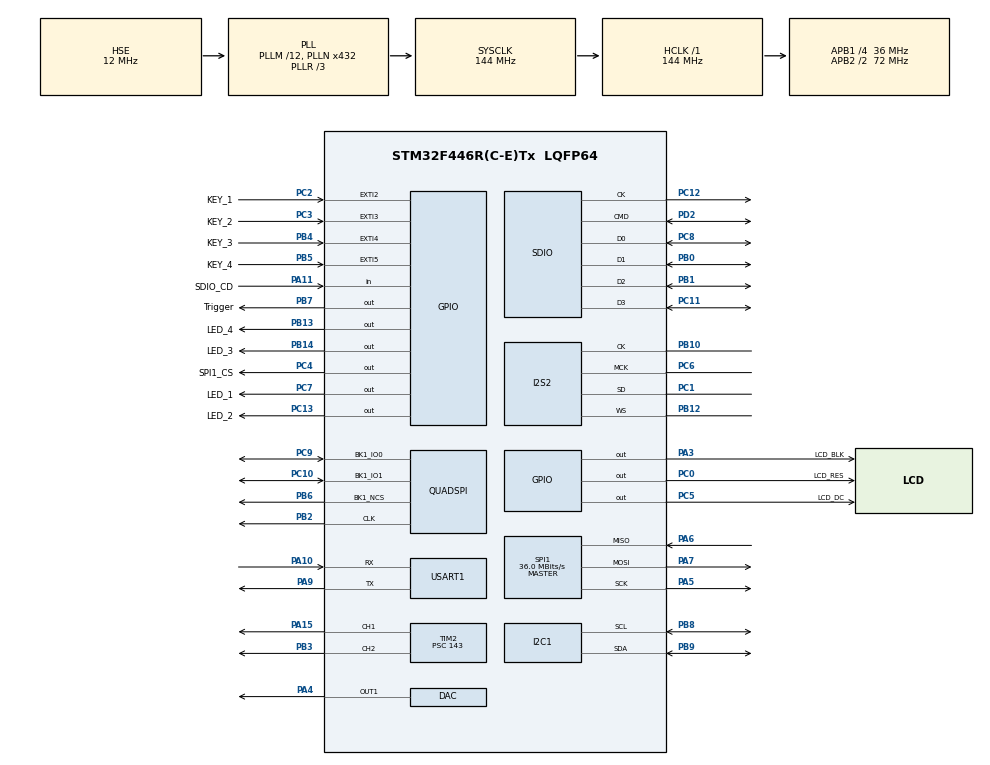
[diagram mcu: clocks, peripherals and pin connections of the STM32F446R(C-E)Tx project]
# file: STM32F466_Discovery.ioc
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Dma.Request0=SPI1_TX
Dma.Request1=SDIO
Dma.Request2=SPI2_TX
Dma.SDIO.1.Direction=DMA_PERIPH_TO_MEMORY
Dma.SDIO.1.FIFOMode=DMA_FIFOMODE_ENABLE
Dma.SDIO.1.FIFOThreshold=DMA_FIFO_THRESHOLD_FULL
Dma.SDIO.1.Instance=DMA2_Stream6
Dma.SDIO.1.MemBurst=DMA_MBURST_INC4
Dma.SDIO.1.MemDataAlignment=DMA_MDATAALIGN_WORD
Dma.SDIO.1.MemInc=DMA_MINC_ENABLE
Dma.SDIO.1.Mode=DMA_PFCTRL
Dma.SDIO.1.PeriphBurst=DMA_PBURST_INC4
Dma.SDIO.1.PeriphDataAlignment=DMA_PDATAALIGN_WORD
Dma.SDIO.1.PeriphInc=DMA_PINC_DISABLE
Dma.SDIO.1.Priority=DMA_PRIORITY_LOW
Dma.SPI1_TX.0.Direction=DMA_MEMORY_TO_PERIPH
Dma.SPI1_TX.0.FIFOMode=DMA_FIFOMODE_DISABLE
Dma.SPI1_TX.0.Instance=DMA2_Stream3
Dma.SPI1_TX.0.MemDataAlignment=DMA_MDATAALIGN_HALFWORD
Dma.SPI1_TX.0.MemInc=DMA_MINC_ENABLE
Dma.SPI1_TX.0.Mode=DMA_NORMAL
Dma.SPI1_TX.0.PeriphDataAlignment=DMA_PDATAALIGN_HALFWORD
Dma.SPI1_TX.0.PeriphInc=DMA_PINC_DISABLE
Dma.SPI1_TX.0.Priority=DMA_PRIORITY_LOW
Dma.SPI2_TX.2.Direction=DMA_MEMORY_TO_PERIPH
Dma.SPI2_TX.2.FIFOMode=DMA_FIFOMODE_DISABLE
Dma.SPI2_TX.2.Instance=DMA1_Stream4
Dma.SPI2_TX.2.MemDataAlignment=DMA_MDATAALIGN_HALFWORD
Dma.SPI2_TX.2.MemInc=DMA_MINC_ENABLE
Dma.SPI2_TX.2.Mode=DMA_CIRCULAR
Dma.SPI2_TX.2.PeriphDataAlignment=DMA_PDATAALIGN_HALFWORD
Dma.SPI2_TX.2.PeriphInc=DMA_PINC_DISABLE
Dma.SPI2_TX.2.Priority=DMA_PRIORITY_HIGH
FATFS.BSP.number=1
FATFS._CODE_PAGE=936
FATFS._USE_LFN=2
FATFS0.BSP.STBoard=false
FATFS0.BSP.api=Unknown
FATFS0.BSP.i2caddr=0
FATFS0.BSP.instance=PA11
FATFS0.BSP.ip=GPIO
FATFS0.BSP.mode=Input
FATFS0.BSP.name=Detect_SDIO
FATFS0.BSP.solution=PA11
I2S2.AudioFreq=I2S_AUDIOFREQ_44K
I2S2.ClockSource-Half_Duplex_Master=I2S_CLOCK_PLLSRC
I2S2.ErrorAudioFreq=-5.3 %
I2S2.FullDuplexMode=I2S_FULLDUPLEXMODE_DISABLE
I2S2.Instance=SPI$Index
I2S2.RealAudioFreq=41.666 KHz
I2S2.VirtualMode=I2S_MODE_MASTER
Mcu.Family=STM32F4
Mcu.Name=STM32F446R(C-E)Tx
Mcu.Package=LQFP64
NVIC.DMA1_Stream4_IRQn=true\:0\:0\:false\:false\:true\:false\:true
NVIC.DMA2_Stream3_IRQn=true\:0\:0\:false\:false\:true\:false\:true
NVIC.DMA2_Stream6_IRQn=true\:0\:0\:false\:false\:true\:false\:true
NVIC.EXTI2_IRQn=true\:5\:0\:true\:false\:true\:true\:true
NVIC.EXTI3_IRQn=true\:5\:0\:true\:false\:true\:true\:true
NVIC.EXTI4_IRQn=true\:5\:0\:true\:false\:true\:true\:true
NVIC.EXTI9_5_IRQn=true\:5\:0\:true\:false\:true\:true\:true
NVIC.PriorityGroup=NVIC_PRIORITYGROUP_3
NVIC.SDIO_IRQn=true\:0\:0\:false\:false\:true\:true\:true
NVIC.TIM2_IRQn=true\:0\:0\:false\:false\:true\:true\:true
NVIC.TIM5_IRQn=true\:1\:0\:true\:false\:true\:true\:true
NVIC.TIM6_DAC_IRQn=true\:6\:0\:true\:false\:true\:true\:true
NVIC.TIM7_IRQn=true\:7\:0\:true\:false\:true\:true\:true
PA10.Mode=Asynchronous
PA10.Signal=USART1_RX
PA11.GPIO_Label=SDIO_CD
PA11.Signal=GPIO_Input
PA13.Mode=Serial_Wire
PA13.Signal=SYS_JTMS-SWDIO
PA14.Mode=Serial_Wire
PA14.Signal=SYS_JTCK-SWCLK
PA15.Signal=S_TIM2_CH1_ETR
PA3.GPIO_Label=LCD_BLK
PA3.Signal=GPIO_Output
PA4.Signal=COMP_DAC1_group
PA5.Mode=Full_Duplex_Master
PA5.Signal=SPI1_SCK
PA6.Mode=Full_Duplex_Master
PA6.Signal=SPI1_MISO
PA7.Mode=Full_Duplex_Master
PA7.Signal=SPI1_MOSI
PA9.Mode=Asynchronous
PA9.Signal=USART1_TX
PB0.Mode=SD_4_bits_Wide_bus
PB0.Signal=SDIO_D1
PB1.Mode=SD_4_bits_Wide_bus
PB1.Signal=SDIO_D2
PB10.Mode=Half_Duplex_Master
PB10.Signal=I2S2_CK
PB12.Mode=Half_Duplex_Master
PB12.Signal=I2S2_WS
PB13.GPIO_Label=LED_4
PB13.PinState=GPIO_PIN_SET
PB13.Signal=GPIO_Output
PB14.GPIO_Label=LED_3
PB14.PinState=GPIO_PIN_SET
PB14.Signal=GPIO_Output
PB2.Mode=Single Bank 1 2IOs
PB2.Signal=QUADSPI_CLK
PB3.Signal=S_TIM2_CH2
PB4.GPIO_Label=KEY_3
PB4.GPIO_PuPd=GPIO_PULLDOWN
PB4.Signal=GPXTI4
PB5.GPIO_Label=KEY_4
PB5.GPIO_PuPd=GPIO_PULLDOWN
PB5.Signal=GPXTI5
PB6.Mode=Single Bank 1 2IOs
PB6.Signal=QUADSPI_BK1_NCS
PB7.GPIO_Label=Trigger
PB7.GPIO_PuPd=GPIO_PULLDOWN
PB7.Signal=GPIO_Output
PB8.Mode=I2C
PB8.Signal=I2C1_SCL
PB9.Mode=I2C
PB9.Signal=I2C1_SDA
PC0.GPIO_Label=LCD_RES
PC0.Signal=GPIO_Output
PC1.Mode=Half_Duplex_Master
PC1.Signal=I2S2_SD
PC10.Mode=Single Bank 1 2IOs
PC10.Signal=QUADSPI_BK1_IO1
PC11.Mode=SD_4_bits_Wide_bus
PC11.Signal=SDIO_D3
PC12.Mode=SD_4_bits_Wide_bus
PC12.Signal=SDIO_CK
PC13.GPIO_Label=LED_2
PC13.PinState=GPIO_PIN_SET
PC13.Signal=GPIO_Output
PC14-OSC32_IN.Mode=LSE-External-Oscillator
PC14-OSC32_IN.Signal=RCC_OSC32_IN
PC15-OSC32_OUT.Mode=LSE-External-Oscillator
PC15-OSC32_OUT.Signal=RCC_OSC32_OUT
PC2.GPIO_Label=KEY_1
PC2.GPIO_PuPd=GPIO_PULLDOWN
PC2.Signal=GPXTI2
PC3.GPIO_Label=KEY_2
PC3.GPIO_PuPd=GPIO_PULLDOWN
PC3.Signal=GPXTI3
PC4.GPIO_Label=SPI1_CS
PC4.PinState=GPIO_PIN_SET
PC4.Signal=GPIO_Output
PC5.GPIO_Label=LCD_DC
PC5.PinState=GPIO_PIN_SET
PC5.Signal=GPIO_Output
PC6.Mode=Master_Clock_Activated
PC6.Signal=I2S2_MCK
PC7.GPIO_Label=LED_1
PC7.PinState=GPIO_PIN_SET
PC7.Signal=GPIO_Output
PC8.Mode=SD_4_bits_Wide_bus
PC8.Signal=SDIO_D0
PC9.Mode=Single Bank 1 2IOs
PC9.Signal=QUADSPI_BK1_IO0
PD2.Mode=SD_4_bits_Wide_bus
PD2.Signal=SDIO_CMD
PH0-OSC_IN.Mode=HSE-External-Oscillator
PH0-OSC_IN.Signal=RCC_OSC_IN
PH1-OSC_OUT.Mode=HSE-External-Oscillator
PH1-OSC_OUT.Signal=RCC_OSC_OUT
ProjectManager.HeapSize=0x2000
ProjectManager.StackSize=0x2000
ProjectManager.TargetToolchain=MDK-ARM V5.32
QUADSPI.ChipSelectHighTime=QSPI_CS_HIGH_TIME_4_CYCLE
QUADSPI.ClockPrescaler=2
QUADSPI.FifoThreshold=4
QUADSPI.FlashSize=23
QUADSPI.SampleShifting=QSPI_SAMPLE_SHIFTING_HALFCYCLE
RCC.AHBFreq_Value=144000000
RCC.APB1CLKDivider=RCC_HCLK_DIV4
RCC.APB1Freq_Value=36000000
RCC.APB1TimFreq_Value=72000000
RCC.APB2CLKDivider=RCC_HCLK_DIV2
RCC.APB2Freq_Value=72000000
RCC.APB2TimFreq_Value=144000000
RCC.CortexFreq_Value=144000000
RCC.HCLKFreq_Value=144000000
RCC.HSE_VALUE=12000000
RCC.PLLI2SM=12
RCC.PLLM=12
RCC.PLLN=432
RCC.PLLP=RCC_PLLP_DIV4
RCC.PLLQ=9
RCC.PLLR=3
RCC.PLLSAIM=12
RCC.PLLSAIN=432
RCC.PLLSourceVirtual=RCC_PLLSOURCE_HSE
RCC.SYSCLKFreq_VALUE=144000000
RCC.SYSCLKSource=RCC_SYSCLKSOURCE_PLLRCLK
RCC.USBFreq_Value=48000000
RCC.VCOOutputFreq_Value=432000000
SDIO.ClockDiv=6
SH.COMP_DAC1_group.0=DAC_OUT1,DAC_OUT1
SH.S_TIM2_CH1_ETR.0=TIM2_CH1,Output Compare1 CH1
SH.S_TIM2_CH2.0=TIM2_CH2,Output Compare2 CH2
SPI1.BaudRatePrescaler=SPI_BAUDRATEPRESCALER_2
SPI1.CLKPhase=SPI_PHASE_1EDGE
SPI1.CLKPolarity=SPI_POLARITY_LOW
SPI1.CalculateBaudRate=36.0 MBits/s
SPI1.Direction=SPI_DIRECTION_2LINES
SPI1.Mode=SPI_MODE_MASTER
SPI1.VirtualType=VM_MASTER
STMicroelectronics.X-CUBE-TOUCHGFX.4.18.1.ApplicationCcGraphicsJjApplication=TouchGFXOoGenerator
STMicroelectronics.X-CUBE-TOUCHGFX.4.18.1.tgfx_block_size=10240
STMicroelectronics.X-CUBE-TOUCHGFX.4.18.1.tgfx_buffering_strategy=Single
STMicroelectronics.X-CUBE-TOUCHGFX.4.18.1.tgfx_custom_height=160
STMicroelectronics.X-CUBE-TOUCHGFX.4.18.1.tgfx_custom_width=128
STMicroelectronics.X-CUBE-TOUCHGFX.4.18.1.tgfx_datareader=Disabled
STMicroelectronics.X-CUBE-TOUCHGFX.4.18.1.tgfx_location=Allocate
STMicroelectronics.X-CUBE-TOUCHGFX.4.18.1.tgfx_number_of_blocks=1
STMicroelectronics.X-CUBE-TOUCHGFX.4.18.1_IsPackSelfContextualization=true
TIM2.Channel-Output\ Compare1\ CH1=TIM_CHANNEL_1
TIM2.Channel-Output\ Compare2\ CH2=TIM_CHANNEL_2
TIM2.OCMode_1=TIM_OCMODE_TOGGLE
TIM2.OCMode_2=TIM_OCMODE_TOGGLE
TIM2.OCPolarity_1=TIM_OCPOLARITY_HIGH
TIM2.OCPolarity_2=TIM_OCPOLARITY_HIGH
TIM2.Period=1000000
TIM2.Prescaler=143
TIM2.Pulse-Output\ Compare1\ CH1=100
TIM2.Pulse-Output\ Compare2\ CH2=500
TIM5.Channel-Output\ Compare1\ No\ Output=TIM_CHANNEL_1
TIM5.Channel-Output\ Compare2\ No\ Output=TIM_CHANNEL_2
TIM5.OCMode_1=TIM_OCMODE_TIMING
TIM5.Period=1000000
TIM5.Prescaler=72-1
TIM5.Pulse-Output\ Compare1\ No\ Output=1
TIM5.Pulse-Output\ Compare2\ No\ Output=500
TIM6.Period=100-1
TIM6.Prescaler=72-1
TIM7.AutoReloadPreload=TIM_AUTORELOAD_PRELOAD_ENABLE
TIM7.Period=1000-1
TIM7.Prescaler=72-1
USART1.VirtualMode=VM_ASYNC
VP_CRC_VS_CRC.Mode=CRC_Activate
VP_FATFS_VS_SDIO.Mode=SDIO
VP_STMicroelectronics.X-CUBE-TOUCHGFX_VS_GraphicsJjApplication_4.18.1.Mode=GraphicsJjApplication
VP_TIM5_VS_ClockSourceINT.Mode=Internal
VP_TIM5_VS_no_output1.Mode=Output Compare1 No Output
VP_TIM5_VS_no_output2.Mode=Output Compare2 No Output
VP_TIM6_VS_ClockSourceINT.Mode=Enable_Timer
VP_TIM7_VS_ClockSourceINT.Mode=Enable_Timer
board=custom

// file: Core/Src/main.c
/* USER CODE BEGIN Header */
/**
  ******************************************************************************
  * @file           : main.c
  * @brief          : Main program body
  ******************************************************************************
  * @attention
  *
  * <h2><center>&copy; Copyright (c) 2023 STMicroelectronics.
  * All rights reserved.</center></h2>
  *
  * This software component is licensed by ST under BSD 3-Clause license,
  * the "License"; You may not use this file except in compliance with the
  * License. You may obtain a copy of the License at:
  *                        opensource.org/licenses/BSD-3-Clause
  *
  ******************************************************************************
  */
/* USER CODE END Header */
#include "main.h"
#include "crc.h"
#include "dac.h"
#include "dma.h"
#include "fatfs.h"
#include "i2c.h"
#include "i2s.h"
#include "quadspi.h"
#include "sdio.h"
#include "spi.h"
#include "tim.h"
#include "usart.h"
#include "gpio.h"
#include "app_touchgfx.h"

/* USER CODE BEGIN Includes */
#include "system_st7735.h"
#include "system_led.h"
#include "system_key.h"
#include "system_i2s.h"

#include "audio_wm8978_I2C.h"
#include "system_exfuns.h"
#include "system_malloc.h"
#include "system_wavplay.h"
#include "system_fem.h"

#include "output_aep.h"
/* USER CODE END Includes */

/* USER CODE BEGIN PV */

//调制-XX-HZ.wav
//click-XX-HZ.wav		XX:25\30\35\40\45
uint8_t Click_15HZ[] = {"0:/MUSIC/2倍Click15HZ.wav"};
uint8_t Click_30HZ[] = {"0:/MUSIC/2倍Click30HZ.wav"};
uint8_t Click_35HZ[] = {"0:/MUSIC/2倍Click35HZ.wav"};
uint8_t Click_40HZ[] = {"0:/MUSIC/2倍Click40HZ.wav"};
uint8_t Click_45HZ[] = {"0:/MUSIC/2倍Click45HZ.wav"};

uint8_t sine_40HZ[] = {"0:/MUSIC/正弦_40.wav"};
uint8_t sine_45HZ[] = {"0:/MUSIC/正弦_45.wav"};
uint8_t sine_50HZ[] = {"0:/MUSIC/正弦_50.wav"};
uint8_t sine_55HZ[] = {"0:/MUSIC/正弦_55.wav"};
uint8_t sine_60HZ[] = {"0:/MUSIC/正弦_60.wav"};

uint8_t  res;
uint32_t File_Size;								//读取到的歌曲文件大小!
uint8_t  volum = 20;							//用于显示的音量			0 - 100
uint16_t act_volum;								//真实的DAC音量等级 	0 - 61

uint8_t play_cnt = 1;							//       1  2  3  4  5   6  7  8  9  10	|			 11  12  13  14  15
																	//click 15 30 35 40 45
																	//正弦                   40 45 50 55 60

uint8_t *play_name;
uint8_t K4_set_OK = 0;

extern __wavctrl wavctrl;			  	//WAV控制结构体
extern uint8_t PlayingSig;
/* USER CODE END PV */

void SystemClock_Config(void);

int main(void)
{

  /* MCU Configuration--------------------------------------------------------*/

  /* Reset of all peripherals, Initializes the Flash interface and the Systick. */
  HAL_Init();

  /* Configure the system clock */
  SystemClock_Config();

  /* Initialize all configured peripherals */
  MX_GPIO_Init();
  MX_SPI1_Init();
  MX_DMA_Init();
  MX_CRC_Init();
  MX_USART1_UART_Init();
  MX_TIM7_Init();
  MX_I2S2_Init();
  MX_I2C1_Init();
  MX_SDIO_SD_Init();
  MX_FATFS_Init();
  MX_QUADSPI_Init();
  MX_TIM5_Init();
  MX_TIM6_Init();
  MX_DAC_Init();
  MX_TIM2_Init();
  MX_TouchGFX_Init();
  /* USER CODE BEGIN 2 */
//	uPrintf("FatFs SD-Card init OK\n\r");
//	HAL_Delay(100);

	//HAL_TIM_Base_Start_IT(&htim6);
	HAL_TIM_Base_Start_IT(&htim7);
	uPrintf("system TIM init OK\n\r");

	Lcd_Init();
	Lcd_Clear(BLACK);
	LCD_BLK(1);
	uPrintf("LCD init OK\n\r");

//	ASSR_init(click_mode);
//	uPrintf("ASSR init OK\n\r");

//	act_volum = volum * 61 / 100;
//	WM8978_Init(act_volum);
//	f_mount(&SDFatFS,"0:",1); 			//挂载SD卡

  /* USER CODE END 2 */

  /* Infinite loop */
  /* USER CODE BEGIN WHILE */
//	play_name = Click_15HZ;
//	WM8978_SetMute(1); //静音

		DAC_Current_Set(0);
		wave_init();					//电刺激初始化
		change_fre_out(10);		//10HZ
		wave_start();					//开启电刺激

  while (1)
  {

		KEY_Circle_Dete();		//按键循环检测

//    lockDMAToFrontPorch(true);
    /* USER CODE END WHILE */

//  MX_TouchGFX_Process();
  }
}

void SystemClock_Config(void)
{
  RCC_OscInitTypeDef RCC_OscInitStruct = {0};
  RCC_ClkInitTypeDef RCC_ClkInitStruct = {0};

  /** Configure the main internal regulator output voltage
  */
  __HAL_RCC_PWR_CLK_ENABLE();
  __HAL_PWR_VOLTAGESCALING_CONFIG(PWR_REGULATOR_VOLTAGE_SCALE1);
  /** Initializes the RCC Oscillators according to the specified parameters
  * in the RCC_OscInitTypeDef structure.
  */
  RCC_OscInitStruct.OscillatorType = RCC_OSCILLATORTYPE_HSE;
  RCC_OscInitStruct.HSEState = RCC_HSE_ON;
  RCC_OscInitStruct.PLL.PLLState = RCC_PLL_ON;
  RCC_OscInitStruct.PLL.PLLSource = RCC_PLLSOURCE_HSE;
  RCC_OscInitStruct.PLL.PLLM = 12;
  RCC_OscInitStruct.PLL.PLLN = 432;
  RCC_OscInitStruct.PLL.PLLP = RCC_PLLP_DIV4;
  RCC_OscInitStruct.PLL.PLLQ = 9;
  RCC_OscInitStruct.PLL.PLLR = 3;
  if (HAL_RCC_OscConfig(&RCC_OscInitStruct) != HAL_OK)
  {
    Error_Handler();
  }
  /** Initializes the CPU, AHB and APB buses clocks
  */
  RCC_ClkInitStruct.ClockType = RCC_CLOCKTYPE_HCLK|RCC_CLOCKTYPE_SYSCLK
                              |RCC_CLOCKTYPE_PCLK1|RCC_CLOCKTYPE_PCLK2;
  RCC_ClkInitStruct.SYSCLKSource = RCC_SYSCLKSOURCE_PLLRCLK;
  RCC_ClkInitStruct.AHBCLKDivider = RCC_SYSCLK_DIV1;
  RCC_ClkInitStruct.APB1CLKDivider = RCC_HCLK_DIV4;
  RCC_ClkInitStruct.APB2CLKDivider = RCC_HCLK_DIV2;

  if (HAL_RCC_ClockConfig(&RCC_ClkInitStruct, FLASH_LATENCY_4) != HAL_OK)
  {
    Error_Handler();
  }
}

/* USER CODE BEGIN 4 */

void HAL_TIM_OC_DelayElapsedCallback(TIM_HandleTypeDef *htim)
{//比较中断
// if(htim == &htim5)
// {
//	ASSR_ComINT_Handle();
// }
	wave_OC_Handle(htim);
}

void HAL_TIM_PeriodElapsedCallback(TIM_HandleTypeDef *htim)
{
	// system tick : 1ms
  if (htim->Instance == TIM7)
	{
		res = f_typetell(play_name);
		if(res == T_WAV)
		{
			res = wav_play_song(play_name);
			Audio_Process();
		}
		touchgfx_60HZ_tick();		//touchgfx 心跳节拍 16ms
		blink_LED1();						//系统指示灯
		system_Key_tick();			//key tick
	//	Key_SetAudio();					//音量按键循环处理
		Key_SetFEM();						//电刺激按键
  }
//  if (htim->Instance == TIM5)
//	{
//		ASSR_EndINT_Handle();
//	}
}

//按键4的功能函数
void K4_fucntion()
{
	play_cnt++;
	if(play_cnt == 11)
		play_cnt = 1;
	switch(play_cnt)
	{
		case 1:play_name = Click_15HZ;	break;
		case 2:play_name = Click_30HZ;	break;
		case 3:play_name = Click_35HZ;	break;
		case 4:play_name = Click_40HZ;	break;
		case 5:play_name = Click_45HZ;	break;

		case 6:play_name = sine_40HZ;	break;
		case 7:play_name = sine_45HZ;	break;
		case 8:play_name = sine_50HZ;	break;
		case 9:play_name = sine_55HZ;	break;
		case 10:play_name = sine_60HZ;	break;
	}
}
/* USER CODE END 4 */

void Error_Handler(void)
{
  /* USER CODE BEGIN Error_Handler_Debug */
  /* User can add his own implementation to report the HAL error return state */
  __disable_irq();
  while (1)
  {
		LED_3(1);
  }
  /* USER CODE END Error_Handler_Debug */
}

/************************ (C) COPYRIGHT STMicroelectronics *****END OF FILE****/
